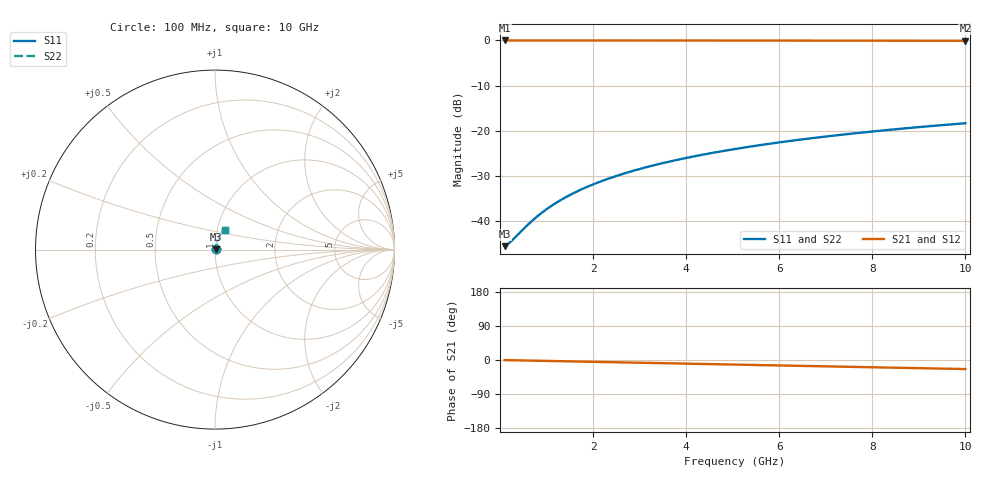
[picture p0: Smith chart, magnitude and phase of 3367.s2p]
# Hz S RI R 50.00
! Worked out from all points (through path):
!   100 points, 100 MHz to 10 GHz, reference 50 ohm
!   highest |S21| = -0.05 dB at 100 MHz (marker M1); lowest = -0.1 dB at 10 GHz (marker M2)
!   group delay of S21, straight-line fit = 6.65 ps
!   lowest |S11| = -45.5 dB at 100 MHz (marker M3), VSWR 1.01, Z = 50.5 + j0.125 ohm
!   |S11| at or under -10 dB: start of sweep to end of sweep
!   |S22| runs from -45.5 to -18.3 dB; largest |S21 - S12| = 0
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1e8  0.00519 0.00123  0.9948 -0.00417  0.9948 -0.00417  0.00519 0.00123
2e8  0.00524 0.00247  0.9947 -0.00834  0.9947 -0.00834  0.00524 0.00247
3e8  0.00529 0.0037  0.9947 -0.0125  0.9947 -0.0125  0.00529 0.0037
5e8  0.00541 0.00616  0.9945 -0.0208  0.9945 -0.0208  0.00541 0.00616
7e8  0.00556 0.00863  0.9942 -0.0292  0.9942 -0.0292  0.00556 0.00863
8e8  0.00565 0.00986  0.994 -0.0333  0.994 -0.0333  0.00565 0.00986
1e9  0.00586 0.0123  0.9937 -0.0417  0.9937 -0.0417  0.00586 0.0123
1.2e9  0.00611 0.0148  0.9932 -0.05  0.9932 -0.05  0.00611 0.0148
1.4e9  0.00639 0.0172  0.9927 -0.0583  0.9927 -0.0583  0.00639 0.0172
1.6e9  0.00672 0.0197  0.9921 -0.0666  0.9921 -0.0666  0.00672 0.0197
1.8e9  0.00708 0.0221  0.9915 -0.0749  0.9915 -0.0749  0.00708 0.0221
2.1e9  0.0077 0.0257  0.9903 -0.0874  0.9903 -0.0874  0.0077 0.0257
2.5e9  0.00867 0.0306  0.9886 -0.1039  0.9886 -0.1039  0.00867 0.0306
2.9e9  0.0098 0.0354  0.9865 -0.1204  0.9865 -0.1204  0.0098 0.0354
3.4e9  0.0114 0.0413  0.9835 -0.141  0.9835 -0.141  0.0114 0.0413
4.2e9  0.0146 0.0506  0.9777 -0.1738  0.9777 -0.1738  0.0146 0.0506
5.1e9  0.0188 0.0608  0.9698 -0.2103  0.9698 -0.2103  0.0188 0.0608
5.9e9  0.0232 0.0696  0.9615 -0.2424  0.9615 -0.2424  0.0232 0.0696
6.7e9  0.0282 0.078  0.9521 -0.2742  0.9521 -0.2742  0.0282 0.078
7.5e9  0.0337 0.0861  0.9416 -0.3055  0.9416 -0.3055  0.0337 0.0861
8.4e9  0.0406 0.0947  0.9285 -0.3402  0.9285 -0.3402  0.0406 0.0947
1e10  0.0542 0.1086  0.9019 -0.4002  0.9019 -0.4002  0.0542 0.1086
